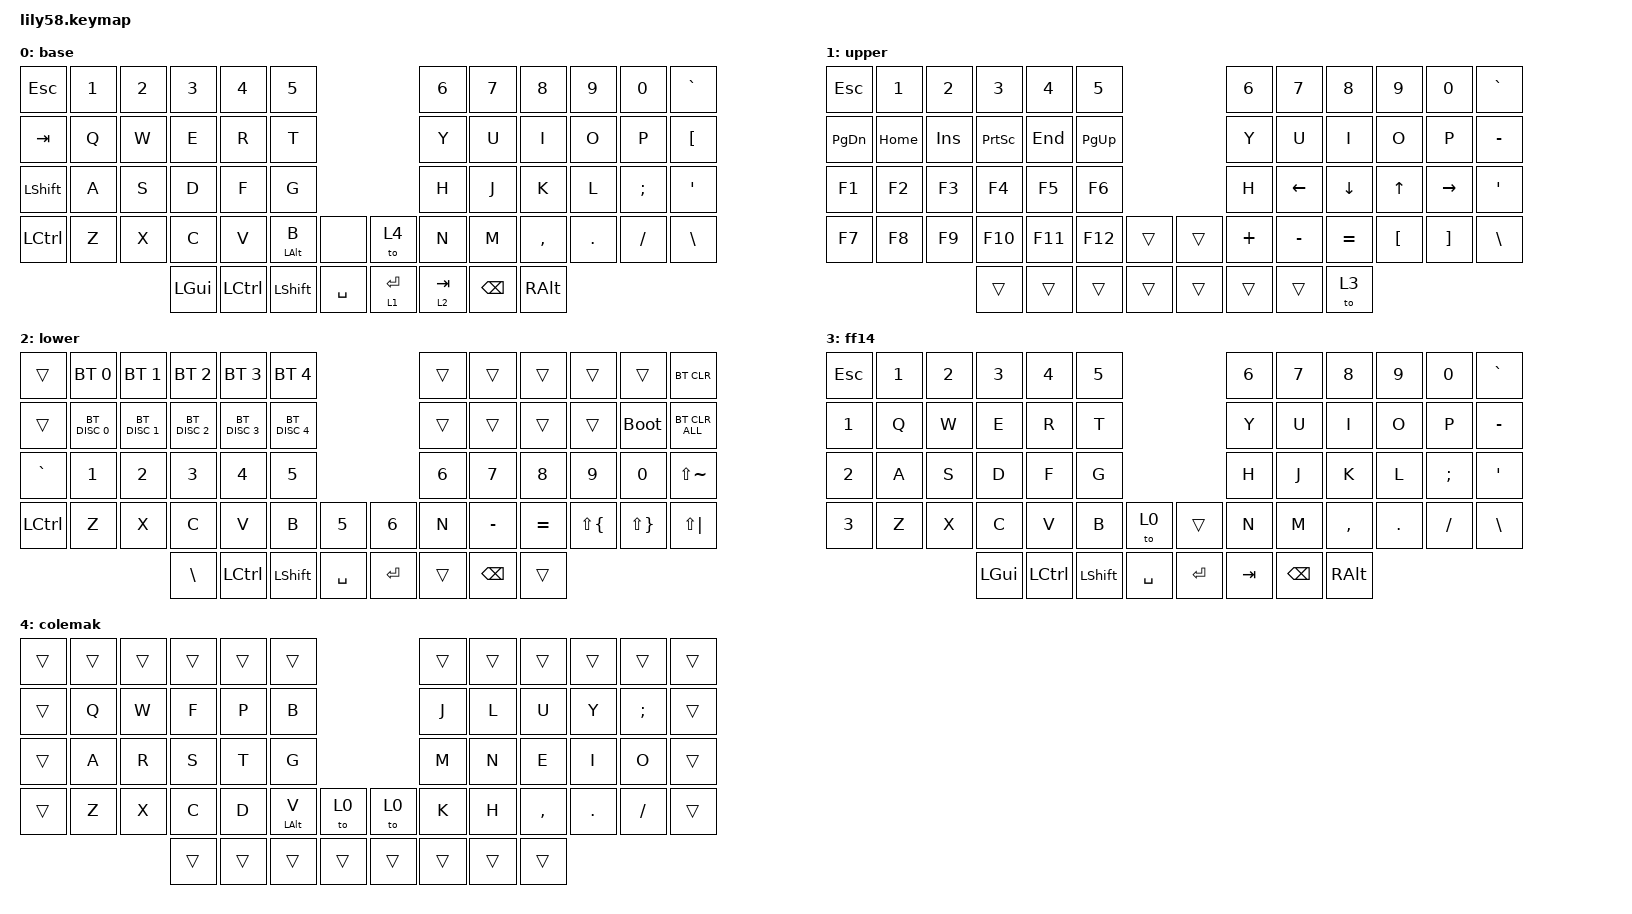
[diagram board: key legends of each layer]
#include <behaviors.dtsi>
#include <dt-bindings/zmk/bt.h>
#include <dt-bindings/zmk/keys.h>

/ {
    combos {
        compatible = "zmk,combos";

        altecp {
            bindings = <&kp LA(TAB)>;
            key-positions = <41 0>;
        };

        delete {
            bindings = <&kp DEL>;
            key-positions = <52 56>;
        };
    };

    keymap {
        compatible = "zmk,keymap";

        base {
            bindings = <
&kp ESC    &kp N1  &kp N2  &kp N3    &kp N4     &kp N5                                    &kp N6     &kp N7    &kp N8     &kp N9   &kp N0    &kp GRAVE
&kp TAB    &kp Q   &kp W   &kp E     &kp R      &kp T                                     &kp Y      &kp U     &kp I      &kp O    &kp P     &kp LBKT
&kp LSHFT  &kp A   &kp S   &kp D     &kp F      &kp G                                     &kp H      &kp J     &kp K      &kp L    &kp SEMI  &kp APOS
&kp LCTRL  &kp Z   &kp X   &kp C     &kp V      &mt LEFT_ALT B  &none        &to 4        &kp N      &kp M     &kp COMMA  &kp DOT  &kp FSLH  &kp BSLH
                           &kp LGUI  &kp LCTRL  &kp LSHFT       &kp SPACE    &lt 1 ENTER  &lt 2 TAB  &kp BSPC  &kp RALT
            >;
        };

        upper {
            bindings = <
&kp ESC        &kp N1    &kp N2   &kp N3           &kp N4   &kp N5                         &kp N6    &kp N7     &kp N8     &kp N9    &kp N0     &kp GRAVE
&kp PAGE_DOWN  &kp HOME  &kp INS  &kp PRINTSCREEN  &kp END  &kp PAGE_UP                    &kp Y     &kp U      &kp I      &kp O     &kp P      &kp MINUS
&kp F1         &kp F2    &kp F3   &kp F4           &kp F5   &kp F6                         &kp H     &kp LEFT   &kp DOWN   &kp UP    &kp RIGHT  &kp SQT
&kp F7         &kp F8    &kp F9   &kp F10          &kp F11  &kp F12      &trans    &trans  &kp PLUS  &kp MINUS  &kp EQUAL  &kp LBKT  &kp RBKT   &kp BSLH
                                  &trans           &trans   &trans       &trans    &trans  &trans    &trans     &to 3
            >;
        };

        lower {
            bindings = <
&trans     &bt BT_SEL 0   &bt BT_SEL 1   &bt BT_SEL 2   &bt BT_SEL 3   &bt BT_SEL 4                         &trans  &trans     &trans     &trans        &trans        &bt BT_CLR
&trans     &bt BT_DISC 0  &bt BT_DISC 1  &bt BT_DISC 2  &bt BT_DISC 3  &bt BT_DISC 4                        &trans  &trans     &trans     &trans        &bootloader   &bt BT_CLR_ALL
&kp GRAVE  &kp N1         &kp N2         &kp N3         &kp N4         &kp N5                               &kp N6  &kp N7     &kp N8     &kp N9        &kp N0        &kp LS(TILDE)
&kp LCTRL  &kp Z          &kp X          &kp C          &kp V          &kp B          &kp N5       &kp N6   &kp N   &kp MINUS  &kp EQUAL  &kp LS(LBRC)  &kp LS(RBRC)  &kp LS(PIPE)
                                         &kp BSLH       &kp LCTRL      &kp LSHFT      &kp SPACE    &kp RET  &trans  &kp BSPC   &trans
            >;
        };

        ff14 {
            bindings = <
&kp ESC  &kp N1  &kp N2  &kp N3    &kp N4     &kp N5                           &kp N6   &kp N7    &kp N8     &kp N9   &kp N0    &kp GRAVE
&kp N1   &kp Q   &kp W   &kp E     &kp R      &kp T                            &kp Y    &kp U     &kp I      &kp O    &kp P     &kp MINUS
&kp N2   &kp A   &kp S   &kp D     &kp F      &kp G                            &kp H    &kp J     &kp K      &kp L    &kp SEMI  &kp SQT
&kp N3   &kp Z   &kp X   &kp C     &kp V      &kp B      &to 0        &trans   &kp N    &kp M     &kp COMMA  &kp DOT  &kp FSLH  &kp BSLH
                         &kp LGUI  &kp LCTRL  &kp LSHFT  &kp SPACE    &kp RET  &kp TAB  &kp BSPC  &kp RALT
            >;
        };

        colemak {
            bindings = <
&trans  &trans  &trans  &trans  &trans  &trans                            &trans  &trans  &trans     &trans   &trans    &trans
&trans  &kp Q   &kp W   &kp F   &kp P   &kp B                             &kp J   &kp L   &kp U      &kp Y    &kp SEMI  &trans
&trans  &kp A   &kp R   &kp S   &kp T   &kp G                             &kp M   &kp N   &kp E      &kp I    &kp O     &trans
&trans  &kp Z   &kp X   &kp C   &kp D   &mt LEFT_ALT V  &to 0     &to 0   &kp K   &kp H   &kp COMMA  &kp DOT  &kp FSLH  &trans
                        &trans  &trans  &trans          &trans    &trans  &trans  &trans  &trans
            >;
        };
    };
};
